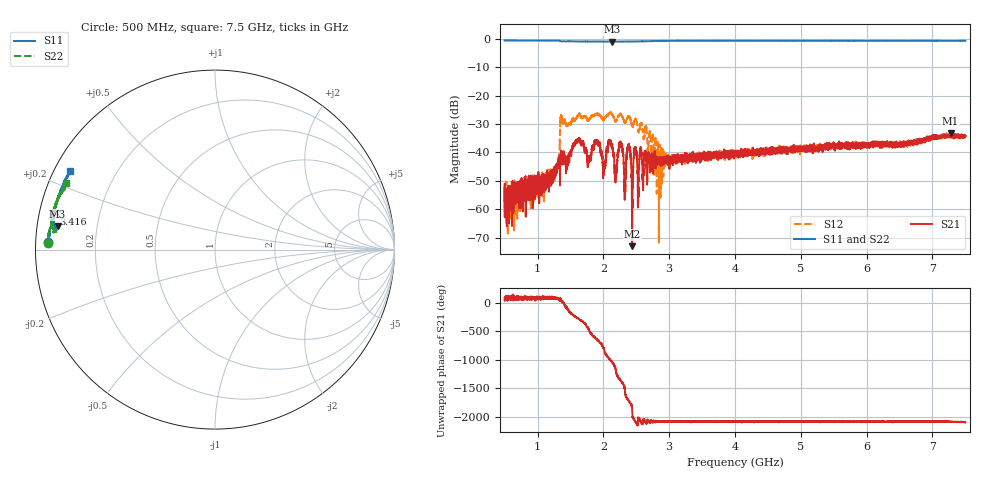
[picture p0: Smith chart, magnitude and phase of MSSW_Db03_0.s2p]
!Keysight Technologies,M9374A,MY55442783,A.12.55.05
!Date: Wednesday, May 19, 2021 15:28:51
!Correction: S11(Full 2 Port(1,2))
!S21(Full 2 Port(1,2))
!S12(Full 2 Port(1,2))
!S22(Full 2 Port(1,2))
!S2P File: Measurements: S11, S21, S12, S22:
# Hz S  RI  R 50
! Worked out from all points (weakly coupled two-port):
!   7001 points, 500 MHz to 7.5 GHz, reference 50 ohm
!   highest |S21| = -33.29 dB at 7.275 GHz (marker M1); lowest = -73.0 dB at 2.438 GHz (marker M2)
!   lowest |S11| = -1.0 dB at 2.138 GHz (marker M3), VSWR 16.57, Z = 3.03 + j3.64 ohm
!   |S11| at or under -10 dB: nowhere
!   |S22| runs from -1.0 to -0.6 dB; largest |S21 - S12| = 0.038
!   S11 on the Smith chart (normalised r, x): 500 MHz: 0.04, +0.02; 3.416 GHz: 0.04, +0.11; 7.5 GHz: 0.05, +0.26
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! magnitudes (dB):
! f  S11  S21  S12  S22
! 500 MHz  -0.6  -57.2  -53.3  -0.6
! 1.242 GHz  -0.7  -46.4  -47.4  -0.6
! 1.301 GHz  -0.7  -44.7  -44.8  -0.6
! 1.378 GHz  -0.9  -42.3  -28.8  -0.9
! 1.667 GHz  -1.0  -36.7  -27.8  -0.9
! 1.782 GHz  -1.0  -41.6  -28.2  -1.0
! 1.915 GHz  -1.0  -36.0  -26.5  -1.0
! 2.01 GHz  -1.0  -46.6  -28.3  -1.0
! 2.138 GHz  -1.0  -38.8  -26.7  -1.0
! 2.189 GHz  -1.0  -48.4  -28.7  -1.0
! 2.268 GHz  -1.0  -37.3  -26.7  -1.0
! 2.328 GHz  -1.0  -55.4  -29.3  -1.0
! 2.385 GHz  -1.0  -38.0  -27.5  -0.9
! 2.438 GHz  -1.0  -73.0  -30.6  -0.9
! 2.486 GHz  -1.0  -39.1  -28.2  -0.9
! 2.834 GHz  -0.8  -43.4  -38.2  -0.8
! 3.416 GHz  -0.7  -41.1  -41.3  -0.7
! 4 GHz  -0.7  -41.1  -39.8  -0.7
! 5.167 GHz  -0.7  -38.1  -38.6  -0.7
! 6.334 GHz  -0.7  -37.2  -37.1  -0.8
! 7.275 GHz  -0.8  -33.3  -34.3  -0.8
! 7.5 GHz  -0.7  -34.2  -33.9  -0.8
